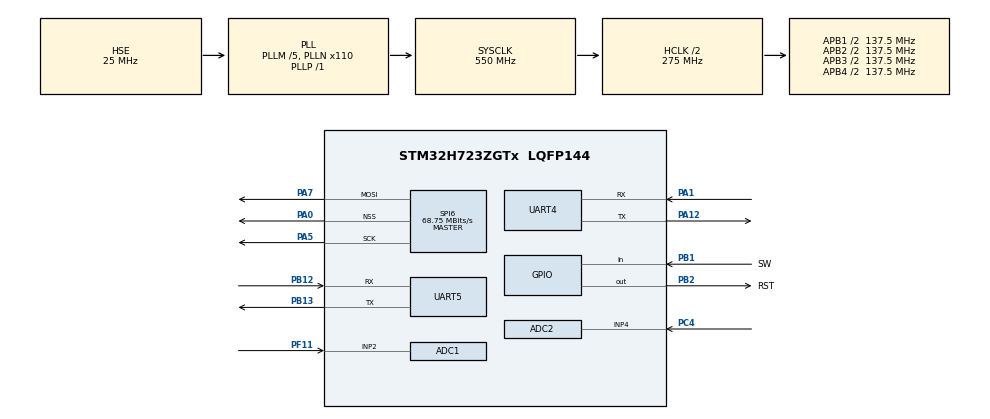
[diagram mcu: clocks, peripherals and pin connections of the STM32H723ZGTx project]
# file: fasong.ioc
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ADC1.Channel-0\#ChannelRegularConversion=ADC_CHANNEL_2
ADC1.ContinuousConvMode=DISABLE
ADC1.NbrOfConversionFlag=1
ADC1.OffsetNumber-0\#ChannelRegularConversion=ADC_OFFSET_NONE
ADC1.OffsetSignedSaturation-0\#ChannelRegularConversion=DISABLE
ADC1.Rank-0\#ChannelRegularConversion=1
ADC1.Resolution=ADC_RESOLUTION_8B
ADC1.SamplingTime-0\#ChannelRegularConversion=ADC_SAMPLETIME_1CYCLE_5
ADC1.master=1
ADC2.Channel-0\#ChannelRegularConversion=ADC_CHANNEL_4
ADC2.ContinuousConvMode=DISABLE
ADC2.NbrOfConversionFlag=1
ADC2.OffsetNumber-0\#ChannelRegularConversion=ADC_OFFSET_NONE
ADC2.OffsetSignedSaturation-0\#ChannelRegularConversion=DISABLE
ADC2.Rank-0\#ChannelRegularConversion=1
ADC2.Resolution=ADC_RESOLUTION_8B
ADC2.SamplingTime-0\#ChannelRegularConversion=ADC_SAMPLETIME_1CYCLE_5
CORTEX_M7.default_mode_Activation=1
Mcu.Family=STM32H7
Mcu.Name=STM32H723ZGTx
Mcu.Package=LQFP144
NVIC.PriorityGroup=NVIC_PRIORITYGROUP_4
NVIC.UART4_IRQn=true\:0\:0\:false\:false\:true\:true\:true\:true
PA0.Mode=NSS_Signal_Hard_Output
PA0.Signal=SPI6_NSS
PA1.Mode=Asynchronous
PA1.Signal=UART4_RX
PA12.Mode=Asynchronous
PA12.Signal=UART4_TX
PA5.Mode=TX_Only_Simplex_Unidirect_Master
PA5.Signal=SPI6_SCK
PA7.Mode=TX_Only_Simplex_Unidirect_Master
PA7.Signal=SPI6_MOSI
PB1.GPIO_Label=SW
PB1.GPIO_PuPd=GPIO_PULLUP
PB1.Signal=GPIO_Input
PB12.Mode=Asynchronous
PB12.Signal=UART5_RX
PB13.Mode=Asynchronous
PB13.Signal=UART5_TX
PB2.GPIO_Label=RST
PB2.GPIO_Speed=GPIO_SPEED_FREQ_HIGH
PB2.PinState=GPIO_PIN_SET
PB2.Signal=GPIO_Output
PC4.Signal=ADCx_INP4
PF11.Mode=IN2-Single-Ended
PF11.Signal=ADC1_INP2
PH0-OSC_IN.Mode=HSE-External-Oscillator
PH0-OSC_IN.Signal=RCC_OSC_IN
PH1-OSC_OUT.Mode=HSE-External-Oscillator
PH1-OSC_OUT.Signal=RCC_OSC_OUT
ProjectManager.HeapSize=0x200
ProjectManager.StackSize=0x400
ProjectManager.TargetToolchain=STM32CubeIDE
RCC.ADCCLockSelection=RCC_ADCCLKSOURCE_CLKP
RCC.ADCFreq_Value=64000000
RCC.APB1Freq_Value=137500000
RCC.APB2Freq_Value=137500000
RCC.APB3Freq_Value=137500000
RCC.APB4Freq_Value=137500000
RCC.CortexFreq_Value=550000000
RCC.D1PPRE=RCC_APB3_DIV2
RCC.D2PPRE1=RCC_APB1_DIV2
RCC.D2PPRE2=RCC_APB2_DIV2
RCC.D3PPRE=RCC_APB4_DIV2
RCC.DIVM1=5
RCC.DIVN1=110
RCC.DIVP1=1
RCC.HCLKFreq_Value=275000000
RCC.HPRE=RCC_HCLK_DIV2
RCC.PLLSourceVirtual=RCC_PLLSOURCE_HSE
RCC.SYSCLKFreq_VALUE=550000000
RCC.SYSCLKSource=RCC_SYSCLKSOURCE_PLLCLK
RCC.USBFreq_Value=275000000
SH.ADCx_INP4.0=ADC2_INP4,IN4-Single-Ended
SPI6.CalculateBaudRate=68.75 MBits/s
SPI6.DataSize=SPI_DATASIZE_8BIT
SPI6.Direction=SPI_DIRECTION_2LINES_TXONLY
SPI6.FifoThreshold=SPI_FIFO_THRESHOLD_02DATA
SPI6.Mode=SPI_MODE_MASTER
SPI6.NSSPMode=SPI_NSS_PULSE_DISABLE
SPI6.VirtualNSS=VM_NSSHARD
SPI6.VirtualType=VM_MASTER
VP_MEMORYMAP_VS_MEMORYMAP.Mode=CurAppReg
board=custom

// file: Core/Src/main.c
/* USER CODE BEGIN Header */
/**
  ******************************************************************************
  * @file           : main.c
  * @brief          : Main program body
  ******************************************************************************
  * @attention
  *
  * Copyright (c) 2026 STMicroelectronics.
  * All rights reserved.
  *
  * This software is licensed under terms that can be found in the LICENSE file
  * in the root directory of this software component.
  * If no LICENSE file comes with this software, it is provided AS-IS.
  *
  ******************************************************************************
  */
/* USER CODE END Header */
#include "main.h"
#include "adc.h"
#include "spi.h"
#include "usart.h"
#include "gpio.h"

/* USER CODE BEGIN Includes */
#include "lcd_spi_200.h"
#include "stdio.h"
#include "atk_mw8266d_uart.h"
#include "atk_mw8266d.h"
/* USER CODE END Includes */

/* USER CODE BEGIN PD */
uint8_t ret;
int32_t X=0;
int32_t Y=0;
char ip_buf[16];
extern struct
{
    uint8_t buf[ATK_MW8266D_UART_RX_BUF_SIZE];              /* 帧接收缓冲 */
    struct
    {
        uint16_t len    : 15;                               /* 帧接收长度，sta[14:0] */
        uint16_t finsh  : 1;                                /* 帧接收完成标志，sta[15] */
    } sta;                                                  /* 帧状态信息 */
} g_uart_rx_frame;
/* USER CODE END PD */

void SystemClock_Config(void);
void PeriphCommonClock_Config(void);
static void MPU_Config(void);
/* USER CODE BEGIN PFP */
void WIFI_Init(void);
/* USER CODE END PFP */

int main(void)
{

  /* MPU Configuration--------------------------------------------------------*/
  MPU_Config();

  /* MCU Configuration--------------------------------------------------------*/

  /* Reset of all peripherals, Initializes the Flash interface and the Systick. */
  HAL_Init();

  /* Configure the system clock */
  SystemClock_Config();

  /* Configure the peripherals common clocks */
  PeriphCommonClock_Config();

  /* Initialize all configured peripherals */
  MX_GPIO_Init();
  MX_ADC1_Init();
  MX_ADC2_Init();
  MX_SPI6_Init();
  MX_UART4_Init();
  MX_UART5_Init();
  /* USER CODE BEGIN 2 */
  SPI_LCD_Init();
  HAL_UARTEx_ReceiveToIdle_IT(&huart4, g_uart_rx_frame.buf, ATK_MW8266D_UART_RX_BUF_SIZE-1);
  WIFI_Init();
  /* USER CODE END 2 */

  /* Infinite loop */
  while (1)
  {
	  /* Infinite loop */
	  /* USER CODE BEGIN WHILE */
	  Get_Chanel_1_2();
	  atk_mw8266d_uart_printf("%d%d%d",X,Y,HAL_GPIO_ReadPin(SW_GPIO_Port,SW_Pin));
	  HAL_Delay(1000);
 }

    /* USER CODE END WHILE */

}

void SystemClock_Config(void)
{
  RCC_OscInitTypeDef RCC_OscInitStruct = {0};
  RCC_ClkInitTypeDef RCC_ClkInitStruct = {0};

  /** Supply configuration update enable
  */
  HAL_PWREx_ConfigSupply(PWR_LDO_SUPPLY);

  /** Configure the main internal regulator output voltage
  */
  __HAL_PWR_VOLTAGESCALING_CONFIG(PWR_REGULATOR_VOLTAGE_SCALE0);

  while(!__HAL_PWR_GET_FLAG(PWR_FLAG_VOSRDY)) {}

  /** Initializes the RCC Oscillators according to the specified parameters
  * in the RCC_OscInitTypeDef structure.
  */
  RCC_OscInitStruct.OscillatorType = RCC_OSCILLATORTYPE_HSI|RCC_OSCILLATORTYPE_HSE;
  RCC_OscInitStruct.HSEState = RCC_HSE_ON;
  RCC_OscInitStruct.HSIState = RCC_HSI_DIV1;
  RCC_OscInitStruct.HSICalibrationValue = 64;
  RCC_OscInitStruct.PLL.PLLState = RCC_PLL_ON;
  RCC_OscInitStruct.PLL.PLLSource = RCC_PLLSOURCE_HSE;
  RCC_OscInitStruct.PLL.PLLM = 5;
  RCC_OscInitStruct.PLL.PLLN = 110;
  RCC_OscInitStruct.PLL.PLLP = 1;
  RCC_OscInitStruct.PLL.PLLQ = 2;
  RCC_OscInitStruct.PLL.PLLR = 2;
  RCC_OscInitStruct.PLL.PLLRGE = RCC_PLL1VCIRANGE_2;
  RCC_OscInitStruct.PLL.PLLVCOSEL = RCC_PLL1VCOWIDE;
  RCC_OscInitStruct.PLL.PLLFRACN = 0;
  if (HAL_RCC_OscConfig(&RCC_OscInitStruct) != HAL_OK)
  {
    Error_Handler();
  }

  /** Initializes the CPU, AHB and APB buses clocks
  */
  RCC_ClkInitStruct.ClockType = RCC_CLOCKTYPE_HCLK|RCC_CLOCKTYPE_SYSCLK
                              |RCC_CLOCKTYPE_PCLK1|RCC_CLOCKTYPE_PCLK2
                              |RCC_CLOCKTYPE_D3PCLK1|RCC_CLOCKTYPE_D1PCLK1;
  RCC_ClkInitStruct.SYSCLKSource = RCC_SYSCLKSOURCE_PLLCLK;
  RCC_ClkInitStruct.SYSCLKDivider = RCC_SYSCLK_DIV1;
  RCC_ClkInitStruct.AHBCLKDivider = RCC_HCLK_DIV2;
  RCC_ClkInitStruct.APB3CLKDivider = RCC_APB3_DIV2;
  RCC_ClkInitStruct.APB1CLKDivider = RCC_APB1_DIV2;
  RCC_ClkInitStruct.APB2CLKDivider = RCC_APB2_DIV2;
  RCC_ClkInitStruct.APB4CLKDivider = RCC_APB4_DIV2;

  if (HAL_RCC_ClockConfig(&RCC_ClkInitStruct, FLASH_LATENCY_3) != HAL_OK)
  {
    Error_Handler();
  }
}

void PeriphCommonClock_Config(void)
{
  RCC_PeriphCLKInitTypeDef PeriphClkInitStruct = {0};

  /** Initializes the peripherals clock
  */
  PeriphClkInitStruct.PeriphClockSelection = RCC_PERIPHCLK_CKPER;
  PeriphClkInitStruct.CkperClockSelection = RCC_CLKPSOURCE_HSI;
  if (HAL_RCCEx_PeriphCLKConfig(&PeriphClkInitStruct) != HAL_OK)
  {
    Error_Handler();
  }
}

 /* MPU Configuration */

void MPU_Config(void)
{
  MPU_Region_InitTypeDef MPU_InitStruct = {0};

  /* Disables the MPU */
  HAL_MPU_Disable();

  /** Initializes and configures the Region and the memory to be protected
  */
  MPU_InitStruct.Enable = MPU_REGION_ENABLE;
  MPU_InitStruct.Number = MPU_REGION_NUMBER0;
  MPU_InitStruct.BaseAddress = 0x0;
  MPU_InitStruct.Size = MPU_REGION_SIZE_4GB;
  MPU_InitStruct.SubRegionDisable = 0x87;
  MPU_InitStruct.TypeExtField = MPU_TEX_LEVEL0;
  MPU_InitStruct.AccessPermission = MPU_REGION_NO_ACCESS;
  MPU_InitStruct.DisableExec = MPU_INSTRUCTION_ACCESS_DISABLE;
  MPU_InitStruct.IsShareable = MPU_ACCESS_SHAREABLE;
  MPU_InitStruct.IsCacheable = MPU_ACCESS_NOT_CACHEABLE;
  MPU_InitStruct.IsBufferable = MPU_ACCESS_NOT_BUFFERABLE;

  HAL_MPU_ConfigRegion(&MPU_InitStruct);
  /* Enables the MPU */
  HAL_MPU_Enable(MPU_PRIVILEGED_DEFAULT);

}

void Error_Handler(void)
{
  __disable_irq();
  while (1)
  {
  }
}

void WIFI_Init(void)
{

	    /* 初始化ATK-MW8266D */
	    ret = atk_mw8266d_init();
	    if (ret != 0)
	    {
	        printf("ATK-MW8266D init failed!\r\n");
	        while (1);
	    }

	    printf("Joining to AP...\r\n");
	    ret  = atk_mw8266d_restore();                               /* 恢复出厂设置 */
	    ret += atk_mw8266d_at_test();                               /* AT测试 */
	    ret += atk_mw8266d_set_mode(1);                             /* Station模式 */
	    ret += atk_mw8266d_sw_reset();                              /* 软件复位 */
	    ret += atk_mw8266d_ate_config(0);                           /* 关闭回显功能 */
	    ret += atk_mw8266d_join_ap(DEMO_WIFI_SSID, DEMO_WIFI_PWD);  /* 连接WIFI */
	    ret += atk_mw8266d_get_ip(ip_buf);                          /* 获取IP地址 */
	    if (ret != 0)
	    {
	        printf("Error to join ap!\r\n");
	        while (1);
	    }
	    printf("IP: %s\r\n", ip_buf);

	    /* 连接TCP服务器 */
	    ret = atk_mw8266d_connect_atkcld(YUN_ID, YUN_CODE);
	    if (ret != 0)
	    {
	        printf("Error to connect YUANZIYUN!\r\n");
	        while (1);
	    }

	    /* 重新开始接收新的一帧数据 */
	    atk_mw8266d_uart_rx_restart();

}
